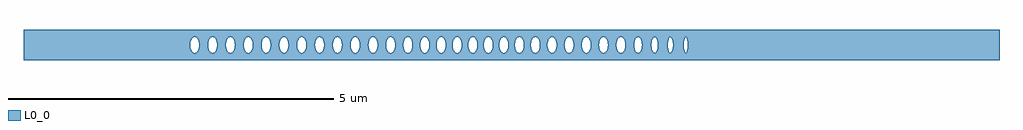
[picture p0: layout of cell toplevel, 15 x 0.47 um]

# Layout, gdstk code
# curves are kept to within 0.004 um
import gdstk
lib = gdstk.Library(unit=1e-6, precision=1e-09)
def P(c, l, *ps):  # polygons
    for p in ps: c.add(gdstk.Polygon(p, *l))
L0_0 = (0, 0)

toplevel = lib.new_cell('toplevel')
P(toplevel, L0_0, [(-4.368,-0.235),(-4.368,-0.09),(-4.382,-0.06),(-4.39,-0.016),(-4.384,0.053),(-4.368,0.09),(-4.368,0.235),(-7.5,0.235),(-7.5,0),(-4.939,0),(-4.934,0.046),(-4.919,0.085),(-4.902,0.109),(-4.873,0.124),(-4.846,0.118),(-4.817,0.085),(-4.801,0.038),(-4.798,-0.016),(-4.664,-0.016),(-4.661,0.038),(-4.651,0.073),(-4.628,0.109),(-4.598,0.124),(-4.572,0.118),(-4.549,0.096),(-4.532,0.06),(-4.524,0.016),(-4.528,-0.046),(-4.537,-0.073),(-4.56,-0.109),(-4.59,-0.124),(-4.616,-0.118),(-4.639,-0.096),(-4.656,-0.06),(-4.664,-0.016),(-4.798,-0.016),(-4.806,-0.06),(-4.83,-0.105),(-4.855,-0.122),(-4.881,-0.122),(-4.906,-0.105),(-4.925,-0.073),(-4.939,0),(-7.5,0),(-7.5,-0.235)],
  [(-3.841,0.023),(-3.829,0.073),(-3.806,0.109),(-3.776,0.124),(-3.75,0.118),(-3.75,0.235),(-4.368,0.235),(-4.368,0.09),(-4.354,0.109),(-4.329,0.123),(-4.307,0.122),(-4.286,0.109),(-4.258,0.06),(-4.25,-0.016),(-4.116,-0.016),(-4.113,0.038),(-4.103,0.073),(-4.08,0.109),(-4.05,0.124),(-4.024,0.118),(-4.001,0.096),(-3.984,0.06),(-3.975,0.008),(-3.98,-0.046),(-3.991,-0.079),(-4.012,-0.109),(-4.041,-0.124),(-4.068,-0.118),(-4.091,-0.096),(-4.108,-0.06),(-4.116,-0.016),(-4.25,-0.016),(-4.263,-0.073),(-4.278,-0.1),(-4.298,-0.118),(-4.315,-0.124),(-4.333,-0.122),(-4.354,-0.109),(-4.368,-0.09),(-4.368,-0.235),(-3.75,-0.235),(-3.75,-0.118),(-3.767,-0.124),(-3.785,-0.122),(-3.817,-0.096),(-3.839,-0.038)],
  [(-3.75,0.235),(-3.75,0.118),(-3.717,0.079),(-3.703,0.031),(-3.701,-0.008),(-3.568,-0.008),(-3.565,0.038),(-3.555,0.073),(-3.532,0.109),(-3.502,0.124),(-3.476,0.118),(-3.449,0.09),(-3.432,0.046),(-3.427,0.008),(-3.429,-0.031),(-3.443,-0.079),(-3.464,-0.109),(-3.493,-0.124),(-3.519,-0.118),(-3.546,-0.09),(-3.563,-0.046),(-3.568,-0.008),(-3.701,-0.008),(-3.717,-0.079),(-3.75,-0.118),(-3.75,-0.235),(-3.164,-0.235),(-3.164,-0.066),(-3.193,-0.112),(-3.21,-0.122),(-3.237,-0.122),(-3.257,-0.109),(-3.275,-0.085),(-3.289,-0.046),(-3.294,-0.008),(-3.292,0.031),(-3.278,0.079),(-3.245,0.118),(-3.228,0.124),(-3.202,0.118),(-3.179,0.096),(-3.164,0.066),(-3.164,0.235)],
  [(-2.471,0.016),(-2.47,0.235),(-3.164,0.235),(-3.164,0.065),(-3.153,-0.008),(-3.02,-0.008),(-3.018,0.031),(-3.004,0.079),(-2.983,0.109),(-2.954,0.124),(-2.928,0.118),(-2.904,0.096),(-2.882,0.038),(-2.879,-0.008),(-2.746,-0.008),(-2.741,0.046),(-2.73,0.079),(-2.709,0.109),(-2.68,0.124),(-2.653,0.118),(-2.63,0.096),(-2.613,0.06),(-2.605,0.016),(-2.608,-0.038),(-2.618,-0.073),(-2.641,-0.109),(-2.671,-0.124),(-2.697,-0.118),(-2.72,-0.096),(-2.737,-0.06),(-2.746,-0.008),(-2.879,-0.008),(-2.884,-0.046),(-2.904,-0.096),(-2.923,-0.115),(-2.945,-0.124),(-2.971,-0.118),(-2.998,-0.09),(-3.015,-0.046),(-3.02,-0.008),(-3.153,-0.008),(-3.164,-0.066),(-3.164,-0.235),(-2.47,-0.235)],
  [(-1.927,0.016),(-1.919,0.06),(-1.899,0.1),(-1.899,0.235),(-2.47,0.235),(-2.47,0.023),(-2.463,0.06),(-2.446,0.096),(-2.423,0.118),(-2.397,0.124),(-2.367,0.109),(-2.344,0.073),(-2.334,0.038),(-2.331,-0.016),(-2.198,-0.016),(-2.195,0.038),(-2.179,0.085),(-2.15,0.118),(-2.123,0.124),(-2.094,0.109),(-2.076,0.085),(-2.062,0.046),(-2.057,0.008),(-2.062,-0.046),(-2.076,-0.085),(-2.094,-0.109),(-2.123,-0.124),(-2.15,-0.118),(-2.173,-0.096),(-2.19,-0.06),(-2.198,-0.016),(-2.331,-0.016),(-2.339,-0.06),(-2.356,-0.096),(-2.379,-0.118),(-2.397,-0.124),(-2.423,-0.118),(-2.446,-0.096),(-2.463,-0.06),(-2.47,-0.023),(-2.47,-0.235),(-1.899,-0.235),(-1.899,-0.1),(-1.923,-0.046)],
  [(-1.891,0.109),(-1.871,0.122),(-1.853,0.124),(-1.831,0.115),(-1.812,0.096),(-1.79,0.038),(-1.787,-0.016),(-1.662,-0.016),(-1.658,0.046),(-1.637,0.096),(-1.61,0.12),(-1.579,0.122),(-1.554,0.105),(-1.535,0.073),(-1.526,0.046),(-1.522,-0.016),(-1.53,-0.06),(-1.547,-0.096),(-1.57,-0.118),(-1.588,-0.124),(-1.614,-0.118),(-1.637,-0.096),(-1.654,-0.06),(-1.662,-0.016),(-1.787,-0.016),(-1.8,-0.073),(-1.823,-0.109),(-1.844,-0.122),(-1.862,-0.124),(-1.879,-0.118),(-1.899,-0.1),(-1.899,-0.235),(-1.288,-0.235),(-1.288,-0.096),(-1.32,-0.122),(-1.355,-0.118),(-1.371,-0.105),(-1.39,-0.073),(-1.403,-0.016),(-1.395,0.06),(-1.367,0.109),(-1.346,0.122),(-1.329,0.124),(-1.311,0.118),(-1.288,0.096),(-1.288,0.235),(-1.899,0.235),(-1.899,0.1)],
  [(-0.766,-0.031),(-0.78,-0.079),(-0.797,-0.105),(-0.822,-0.122),(-0.848,-0.122),(-0.869,-0.109),(-0.892,-0.073),(-0.902,-0.038),(-0.905,0.016),(-0.892,0.073),(-0.88,0.096),(-0.857,0.118),(-0.83,0.124),(-0.801,0.109),(-0.783,0.085),(-0.769,0.046),(-0.764,0.008),(-0.764,0.235),(-1.288,0.235),(-1.288,0.096),(-1.267,0.046),(-1.263,-0.016),(-1.151,-0.016),(-1.148,0.038),(-1.138,0.073),(-1.115,0.109),(-1.085,0.124),(-1.059,0.118),(-1.032,0.09),(-1.015,0.046),(-1.01,0.008),(-1.012,-0.031),(-1.026,-0.079),(-1.047,-0.109),(-1.076,-0.124),(-1.102,-0.118),(-1.126,-0.096),(-1.138,-0.073),(-1.151,-0.016),(-1.263,-0.016),(-1.271,-0.06),(-1.288,-0.096),(-1.288,-0.235),(-0.764,-0.235)],
  [(-0.526,-0.031),(-0.534,-0.066),(-0.552,-0.1),(-0.572,-0.118),(-0.598,-0.124),(-0.616,-0.118),(-0.639,-0.096),(-0.656,-0.06),(-0.664,-0.016),(-0.764,-0.016),(-0.764,-0.235),(-0.167,-0.235),(-0.167,-0.09),(-0.189,-0.016),(-0.186,0.038),(-0.167,0.09),(-0.167,0.235),(-0.764,0.235),(-0.764,-0.016),(-0.664,-0.016),(-0.661,0.038),(-0.651,0.073),(-0.632,0.105),(-0.607,0.122),(-0.589,0.124),(-0.572,0.118),(-0.542,0.085),(-0.528,0.046),(-0.524,-0.016),(-0.426,-0.016),(-0.42,0.053),(-0.394,0.105),(-0.36,0.124),(-0.338,0.12),(-0.318,0.105),(-0.304,0.085),(-0.29,0.046),(-0.286,-0.016),(-0.304,-0.085),(-0.334,-0.118),(-0.365,-0.123),(-0.394,-0.105),(-0.418,-0.06),(-0.426,-0.016),(-0.524,-0.016)],
  [(0.297,0.016),(0.305,0.06),(0.322,0.096),(0.345,0.118),(0.376,0.123),(0.376,0.235),(-0.167,0.235),(-0.167,0.09),(-0.153,0.109),(-0.132,0.122),(-0.105,0.122),(-0.085,0.109),(-0.057,0.06),(-0.048,-0.008),(0.05,-0.008),(0.052,0.031),(0.066,0.079),(0.087,0.109),(0.116,0.124),(0.143,0.118),(0.166,0.096),(0.178,0.073),(0.191,0.016),(0.188,-0.038),(0.178,-0.073),(0.155,-0.109),(0.134,-0.122),(0.103,-0.12),(0.076,-0.096),(0.059,-0.06),(0.05,-0.008),(-0.048,-0.008),(-0.064,-0.079),(-0.081,-0.105),(-0.105,-0.122),(-0.123,-0.124),(-0.14,-0.118),(-0.167,-0.09),(-0.167,-0.235),(0.376,-0.235),(0.376,-0.123),(0.349,-0.12),(0.322,-0.096),(0.301,-0.046)],
  [(0.815,0.016),(0.833,0.085),(0.867,0.12),(0.889,0.124),(0.907,0.118),(0.923,0.105),(0.942,0.073),(0.942,0.235),(0.376,0.235),(0.376,0.123),(0.405,0.105),(0.424,0.073),(0.434,0.038),(0.437,-0.008),(0.552,-0.008),(0.555,0.038),(0.565,0.073),(0.592,0.112),(0.618,0.124),(0.644,0.118),(0.671,0.09),(0.688,0.046),(0.693,0.008),(0.691,-0.031),(0.677,-0.079),(0.656,-0.109),(0.627,-0.124),(0.601,-0.118),(0.574,-0.09),(0.557,-0.046),(0.552,-0.008),(0.437,-0.008),(0.431,-0.053),(0.418,-0.085),(0.401,-0.109),(0.376,-0.123),(0.376,-0.235),(0.942,-0.235),(0.942,-0.073),(0.93,-0.096),(0.907,-0.118),(0.889,-0.124),(0.863,-0.118),(0.84,-0.096),(0.825,-0.066)],
  [(0.953,-0.031),(0.942,-0.073),(0.942,-0.235),(1.612,-0.235),(1.612,0.235),(0.942,0.235),(0.942,0.072),(0.952,0.038),(0.955,-0.016),(1.079,-0.016),(1.082,0.038),(1.092,0.073),(1.115,0.109),(1.145,0.124),(1.171,0.118),(1.198,0.09),(1.215,0.046),(1.22,0),(1.343,0),(1.352,0.06),(1.372,0.1),(1.401,0.122),(1.436,0.118),(1.459,0.096),(1.476,0.06),(1.484,-0.016),(1.478,-0.053),(1.465,-0.085),(1.448,-0.109),(1.427,-0.122),(1.396,-0.12),(1.369,-0.096),(1.348,-0.046),(1.343,0),(1.22,0),(1.215,-0.046),(1.201,-0.085),(1.183,-0.109),(1.154,-0.124),(1.128,-0.118),(1.104,-0.096),(1.092,-0.073),(1.079,-0.016),(0.955,-0.016)],
  [(1.613,0.031),(1.624,0.073),(1.643,0.105),(1.668,0.122),(1.686,0.124),(1.715,0.109),(1.732,0.085),(1.747,0.046),(1.752,0),(1.885,0),(1.888,0.038),(1.904,0.09),(1.927,0.117),(1.95,0.123),(1.975,0.108),(1.993,0.078),(2.005,0.031),(2.006,-0.015),(2.001,-0.052),(1.985,-0.095),(1.965,-0.117),(1.95,-0.123),(1.927,-0.117),(1.904,-0.09),(1.888,-0.038),(1.885,0),(1.752,0),(1.747,-0.046),(1.732,-0.085),(1.715,-0.109),(1.686,-0.124),(1.659,-0.118),(1.636,-0.096),(1.619,-0.06),(1.612,-0.023),(1.612,-0.235),(2.19,-0.235),(2.19,-0.12),(2.175,-0.107),(2.163,-0.084),(2.149,-0.008),(2.159,0.072),(2.175,0.107),(2.19,0.12),(2.19,0.235),(1.612,0.235)],
  [(2.197,0.122),(2.215,0.116),(2.237,0.084),(2.248,0.038),(2.25,-0.015),(2.402,-0.015),(2.411,0.077),(2.425,0.11),(2.44,0.121),(2.458,0.113),(2.472,0.083),(2.483,-0.008),(2.647,-0.008),(2.654,0.076),(2.665,0.109),(2.68,0.12),(2.69,0.112),(2.701,0.082),(2.709,-0.015),(2.698,-0.092),(2.69,-0.112),(2.676,-0.12),(2.665,-0.109),(2.654,-0.076),(2.647,-0.008),(2.483,-0.008),(2.472,-0.083),(2.458,-0.113),(2.445,-0.121),(2.432,-0.117),(2.419,-0.098),(2.408,-0.065),(2.402,-0.015),(2.25,-0.015),(2.243,-0.065),(2.23,-0.099),(2.209,-0.12),(2.19,-0.12),(2.19,-0.235),(7.5,-0.235),(7.5,0.235),(2.19,0.235),(2.19,0.12)])

lib.write_gds('toplevel.gds')
